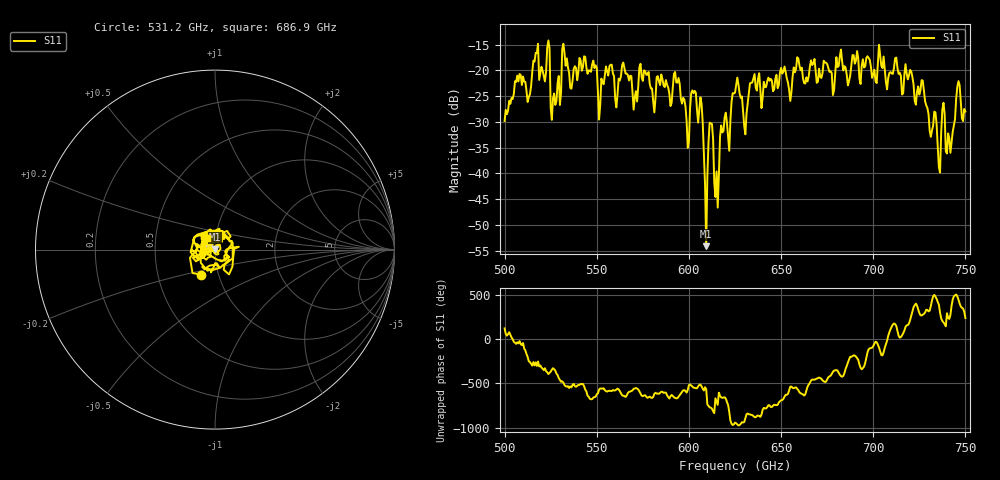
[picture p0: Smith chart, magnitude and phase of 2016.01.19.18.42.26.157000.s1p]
!Created with skrf (http://scikit-rf.org).
# GHz S RI R 50.0
!freq ReS11 ImS11
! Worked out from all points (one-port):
!   401 points, 500 GHz to 750 GHz, reference 50 ohm
!   lowest |S11| = -54.2 dB at 609.4 GHz (marker M1), VSWR 1.00, Z = 49.8 + j0.0926 ohm
!   |S11| at or under -10 dB: start of sweep to end of sweep
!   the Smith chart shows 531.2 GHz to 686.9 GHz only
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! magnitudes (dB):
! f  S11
! 500 GHz  -29.8
! 507.5 GHz  -22.2
! 513.1 GHz  -25.2
! 516.9 GHz  -16.6
! 523.1 GHz  -15.6
! 526.2 GHz  -25.4
! 531.2 GHz  -15.9
! 562.5 GHz  -22.0
! 593.8 GHz  -22.4
! 599.4 GHz  -35.1
! 602.5 GHz  -24.5
! 606.2 GHz  -25.2
! 609.4 GHz  -54.2
! 611.9 GHz  -30.3
! 615 GHz  -39.7
! 618.1 GHz  -32.1
! 625 GHz  -24.4
! 630.6 GHz  -32.4
! 634.4 GHz  -22.4
! 656.2 GHz  -21.2
! 687.5 GHz  -21.0
! 718.8 GHz  -21.8
! 726.9 GHz  -22.0
! 735.6 GHz  -38.9
! 738.1 GHz  -26.3
! 742.5 GHz  -34.0
! 746.2 GHz  -22.1
! 750 GHz  -28.0
